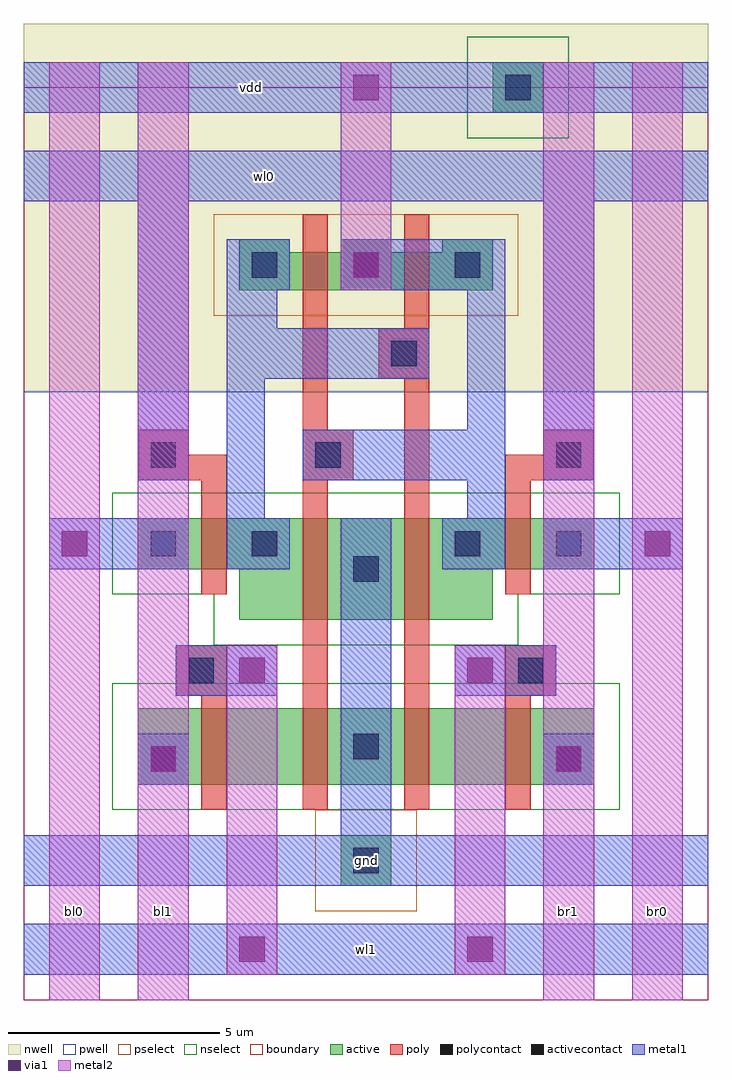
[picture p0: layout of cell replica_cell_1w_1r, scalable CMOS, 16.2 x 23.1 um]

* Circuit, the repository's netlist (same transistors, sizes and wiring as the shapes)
.SUBCKT replica_cell_1w_1r bl0 br0 bl1 br1 wl0 wl1 vdd gnd
MM9 RA_to_R_right wl1 br1 gnd n w=1.8u l=0.6u
MM8 RA_to_R_right Q gnd gnd n w=1.8u l=0.6u
MM7 RA_to_R_left vdd gnd gnd n w=1.8u l=0.6u
MM6 RA_to_R_left wl1 bl1 gnd n w=1.8u l=0.6u
MM5 Q wl0 bl0 gnd n w=1.2u l=0.6u
MM4 vdd wl0 br0 gnd n w=1.2u l=0.6u
MM1 Q vdd gnd gnd n w=2.4u l=0.6u
MM0 vdd Q gnd gnd n w=2.4u l=0.6u
MM3 Q vdd vdd vdd p w=0.9u l=0.6u
MM2 vdd Q vdd vdd p w=0.9u l=0.6u
.ENDS

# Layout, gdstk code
import gdstk
lib = gdstk.Library(unit=1e-6, precision=1e-09)
def R(c, l, rs):  # rectangles x0, y0, x1, y1
    for r in rs: c.add(gdstk.rectangle(r[:2], r[2:], *l))
def A(c, l, x, y, w, h, nx, ny, dx, dy):  # array of equal rectangles
    R(c, l, [(x+i*dx, y+j*dy, x+i*dx+w, y+j*dy+h) for i in range(nx) for j in range(ny)])
pwell = (41, 0)
nwell = (42, 0)
active = (43, 0)
pselect = (44, 0)
nselect = (45, 0)
poly = (46, 0)
polycontact = (47, 0)
activecontact = (48, 0)
metal1 = (49, 0)
via1 = (50, 0)
metal2 = (51, 0)
boundary = (63, 0)

replica_cell_1w_1r = lib.new_cell('replica_cell_1w_1r')
R(replica_cell_1w_1r, pwell, [(0,0,16.2,14.4)])
R(replica_cell_1w_1r, nwell, [(0,14.4,16.2,23.1)])
A(replica_cell_1w_1r, active, 5.1, 17.7, 1.2, 0.3, 3, 1, 2.4, 0)
R(replica_cell_1w_1r, active, [(7.5,2.7,8.7,3.9), (2.7,5.1,13.5,6.9), (5.1,9,11.1,10.2), (2.7,10.2,13.5,11.4), (5.1,16.8,11.1,17.7), (11.1,21,12.3,22.2)])
R(replica_cell_1w_1r, pselect, [(6.9,2.1,9.3,4.5), (4.5,16.2,11.7,18.6)])
R(replica_cell_1w_1r, nselect, [(2.1,4.5,14.1,7.5), (4.5,8.4,11.7,9.6), (2.1,9.6,14.1,12), (10.5,20.4,12.9,22.8)])
R(replica_cell_1w_1r, poly, [(4.2,4.5,4.8,7.2), (6.6,4.5,7.2,12.3), (9,4.5,9.6,14.7), (11.4,4.5,12,7.2), (3.6,7.2,4.8,8.4), (11.4,7.2,12.6,8.4), (4.2,9.6,4.8,12.3), (11.4,9.6,12,12.3), (2.7,12.3,4.8,12.9), (6.6,12.3,7.8,13.5), (11.4,12.3,13.5,12.9), (2.7,12.9,3.9,13.5), (12.3,12.9,13.5,13.5), (6.6,13.5,7.2,18.6), (8.4,14.7,9.6,15.9), (9,15.9,9.6,18.6)])
R(replica_cell_1w_1r, polycontact, [(3.9,7.5,4.5,8.1), (11.7,7.5,12.3,8.1), (3,12.6,3.6,13.2), (6.9,12.6,7.5,13.2), (12.6,12.6,13.2,13.2), (8.7,15,9.3,15.6)])
A(replica_cell_1w_1r, activecontact, 5.4, 17.1, 0.6, 0.6, 3, 1, 2.4, 0)
R(replica_cell_1w_1r, activecontact, [(7.8,3,8.4,3.6), (3,5.4,3.6,6), (12.6,5.4,13.2,6), (7.8,5.7,8.4,6.3), (7.8,9.9,8.4,10.5), (3,10.5,3.6,11.1), (5.4,10.5,6,11.1), (10.2,10.5,10.8,11.1), (12.6,10.5,13.2,11.1), (11.4,21.3,12,21.9)])
R(replica_cell_1w_1r, metal1, [(0,0.6,16.2,1.8), (0,2.7,16.2,3.9), (7.5,3.9,8.7,11.4), (2.7,5.1,3.9,6.3), (12.3,5.1,13.5,6.3), (3.6,7.2,6,8.4), (10.2,7.2,12.6,8.4), (0.6,10.2,3.9,11.4), (4.8,10.2,6.3,11.4), (9.9,10.2,11.4,11.4), (12.3,10.2,15.6,11.4), (4.8,11.4,5.7,14.7), (10.5,11.4,11.4,12.3), (2.7,12.3,3.9,18.9), (6.6,12.3,11.4,13.5), (12.3,12.3,13.5,18.9), (10.5,13.5,11.4,16.8), (4.8,14.7,9.6,15.9), (4.8,15.9,6,16.8), (4.8,16.8,6.3,18), (7.5,16.8,11.4,18), (0,18.9,16.2,20.1), (0,21,16.2,22.2)])
R(replica_cell_1w_1r, via1, [(5.1,0.9,5.7,1.5), (10.5,0.9,11.1,1.5), (3,5.4,3.6,6), (12.6,5.4,13.2,6), (5.1,7.5,5.7,8.1), (10.5,7.5,11.1,8.1), (0.9,10.5,1.5,11.1), (14.7,10.5,15.3,11.1), (7.8,17.1,8.4,17.7), (7.8,21.3,8.4,21.9)])
R(replica_cell_1w_1r, metal2, [(0.6,0,1.8,22.2), (2.7,0,3.9,22.2), (12.3,0,13.5,22.2), (14.4,0,15.6,22.2), (4.8,0.6,6,8.4), (10.2,0.6,11.4,8.4), (7.5,16.8,8.7,22.2)])
R(replica_cell_1w_1r, boundary, [(0,0,16.2,21.6)])
replica_cell_1w_1r.add(gdstk.Label('wl1', (8.1,1.2), layer=49, texttype=0))
replica_cell_1w_1r.add(gdstk.Label('gnd', (8.1,3.3), layer=49, texttype=0))
replica_cell_1w_1r.add(gdstk.Label('bl0', (1.2,2.1), layer=51, texttype=0))
replica_cell_1w_1r.add(gdstk.Label('br0', (15,2.1), layer=51, texttype=0))
replica_cell_1w_1r.add(gdstk.Label('wl0', (5.7,19.5), layer=49, texttype=0))
replica_cell_1w_1r.add(gdstk.Label('bl1', (3.3,2.1), layer=51, texttype=0))
replica_cell_1w_1r.add(gdstk.Label('br1', (12.9,2.1), layer=51, texttype=0))
replica_cell_1w_1r.add(gdstk.Label('vdd', (5.4,21.6), layer=49, texttype=0))

lib.write_gds('replica_cell_1w_1r.gds')
